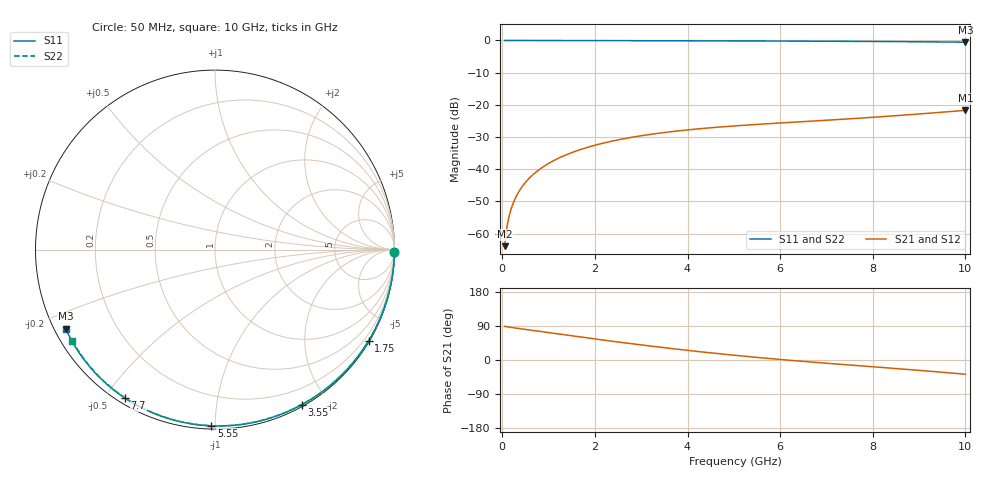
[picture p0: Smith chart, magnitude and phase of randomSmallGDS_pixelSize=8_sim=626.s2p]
! freq	dB(S11)	phase(S11)	dB(S12)	phase(S12)
!  dB(S21)	phase(S21)	dB(S22)	phase(S22)
!S-par simulation data
#  GHz  S  DB  R 50
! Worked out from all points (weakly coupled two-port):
!   200 points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, 50 MHz to 10 GHz, reference 50 ohm
!   highest |S21| = -21.70 dB at 10 GHz (marker M1); lowest = -63.9 dB at 50 MHz (marker M2)
!   lowest |S11| = -0.5 dB at 10 GHz (marker M3), VSWR 33.13, Z = 1.6 - j12.4 ohm
!   |S11| at or under -10 dB: nowhere
!   |S22| runs from -0.5 to 0.0 dB; largest |S21 - S12| = 0
!   S11 on the Smith chart (normalised r, x): 50 MHz: open; 1.75 GHz: 0.03, -3.63; 3.55 GHz: 0.02, -1.71; 5.55 GHz: 0.02, -0.98; 7.7 GHz: 0.02, -0.56; 10 GHz: 0.03, -0.25
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0.05  -0.00 -0.9  -63.87 88.9  -63.87 88.9  -0.00 -0.9
0.1  -0.00 -1.8  -57.87 87.8  -57.87 87.8  -0.00 -1.7
0.15  -0.00 -2.7  -54.38 86.7  -54.38 86.7  -0.00 -2.6
0.2  -0.00 -3.6  -51.91 85.8  -51.91 85.8  -0.00 -3.5
0.25  -0.00 -4.5  -50.00 84.9  -50.00 84.9  -0.00 -4.4
0.35  -0.00 -6.3  -47.12 83.2  -47.12 83.2  -0.00 -6.1
0.5  -0.01 -8.9  -44.07 80.7  -44.07 80.7  -0.01 -8.7
0.7  -0.01 -12.5  -41.20 77.3  -41.20 77.3  -0.01 -12.1
1  -0.02 -17.7  -38.18 72.2  -38.18 72.2  -0.02 -17.3
1.35  -0.03 -23.9  -35.68 66.3  -35.68 66.3  -0.03 -23.2
1.75  -0.04 -30.8  -33.58 59.6  -33.58 59.6  -0.04 -29.9
2.5  -0.06 -43.5  -30.86 47.5  -30.86 47.5  -0.06 -42.3
3.4  -0.08 -58.3  -28.76 33.9  -28.76 33.9  -0.08 -56.7
3.55  -0.09 -60.7  -28.48 31.7  -28.48 31.7  -0.08 -59.1
4.3  -0.11 -72.4  -27.35 21.4  -27.35 21.4  -0.11 -70.5
5.05  -0.14 -83.8  -26.50 12.1  -26.50 12.1  -0.13 -81.6
5.55  -0.16 -91.1  -26.02 6.3  -26.02 6.3  -0.15 -88.8
6.7  -0.22 -107.5  -25.03 -5.6  -25.03 -5.6  -0.21 -104.7
7.7  -0.29 -121.2  -24.15 -15.1  -24.15 -15.1  -0.28 -117.9
8.35  -0.34 -129.9  -23.51 -21.1  -23.51 -21.1  -0.33 -126.3
9.2  -0.43 -141.3  -22.61 -29.3  -22.61 -29.3  -0.42 -137.2
10  -0.52 -152.1  -21.70 -37.5  -21.70 -37.5  -0.51 -147.5
